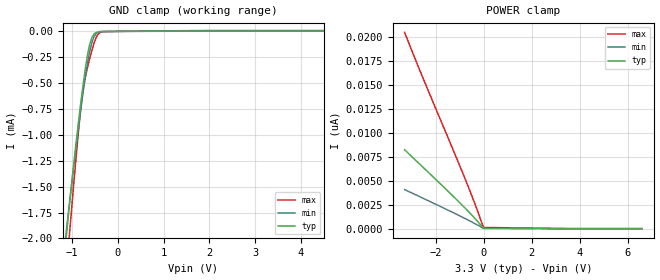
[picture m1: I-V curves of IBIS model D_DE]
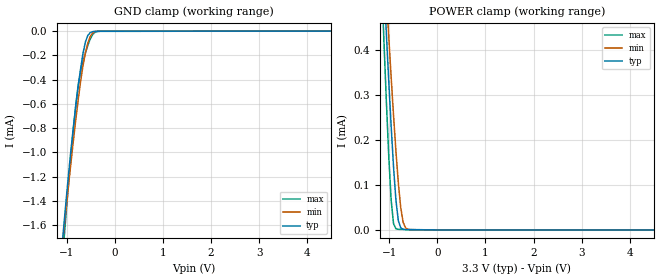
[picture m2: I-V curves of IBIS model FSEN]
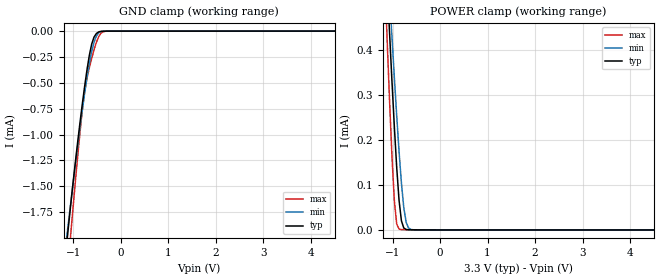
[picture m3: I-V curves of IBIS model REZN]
| Texas Instruments Incorporated
| SN65MLVD040 4-CHANNEL HALF-DUPLEX M-LVDS LINE TRANSCEIVERS
| Marketing part#   Voltage Range   Package-type   #pins/pkg drawing
| SN65MLVD040RGZR   3.0V - 5.5V   VQFN   48-pin QFN
| SN65MLVD040RGZT   3.0V - 5.5V   VQFN   48-pin QFN/Small
[IBIS Ver]   4.0
[File name]   sn65mlvd040.ibs
[File Rev]   1.0
[Date]   03/07/2011
[Source]   Model built from TISPICE simulations at:
   Texas Instruments Incorporated.
   Analog-eLab, HPA
   12500 TI Blvd
   Dallas, TX -75243
   For Support e-mail: elab_scm_ibis@list.ti.com
[Notes]   Revision History
   Rev 1.0: 03/07/2011
   - Model based on simulations from TIspice
   - ccomp values are based on PVT conditions although listed
   in numerical order, please review ccomp comments below under
   respective [Model]
   - Non-monotonicity in AB_IO pullup/down reflects behavior from
   simulations
[Disclaimer] This product is designed as an aid for customers of Texas
                Instruments.
                No warranties, either expressed or implied, with respect
                to this third party software (if any) or with respect to
                its fitness for any particular purpose is claimed by Texas
                Instruments or the author. The software (if any) is provided
                solely on an "as is" basis. The entire risk as to its quality
                and performance is with the customer
[Copyright]   (C)Copyright 2011 Texas Instruments Incorporated.
   All rights reserved.
|   Component sn65mlvd040rgz
[Component]   sn65mlvd040rgz
[Manufacturer]  Texas Instruments Incorporated
[Package]   |48-pin QFN package
|   typ   min   max
R_pkg   0.087760345   0.05095   0.10827
L_pkg   1.54536931nH   1.22682nH   1.79617nH
C_pkg   0.357733103pF   0.32567pF   0.40997pF
[Pin] signal_name   model_name   R_pin   L_pin   C_pin
1   1DE   D_DE   0.10418   1.74196nH   0.33796pF
2   VCC   POWER   0.05453   1.44952nH   0.3941pF
3   2A   A_B_IO   0.10244   1.65488nH   0.35398pF
4   2B   A_B_IO   0.10188   1.61488nH   0.34798pF
5   2DE   D_DE   0.09717   1.52285nH   0.33846pF
6   GND   GND   0.04999   1.20252nH   0.36152pF
7   GND   GND   0.04985   1.19873nH   0.36148pF
8   3DE   D_DE   0.0964   1.5116nH   0.33802pF
9   3A   A_B_IO   0.10255   1.62476nH   0.34877pF
10   3B   A_B_IO   0.10316   1.66538nH   0.35628pF
11   VCC   POWER   0.05504   1.46605nH   0.39594pF
12   4DE   D_DE   0.10413   1.74126nH   0.33732pF
13   4A   A_B_IO   0.10769   1.78773nH   0.34083pF
14   4B   A_B_IO   0.10651   1.7467nH   0.36905pF
15   VCC   POWER   0.05573   1.42696nH   0.40177pF
16   VCC   POWER   0.05343   1.32944nH   0.388pF
17   NC   NC   0.00393   0.36665nH   0.25841pF
18   GND   GND   0.04971   1.19158nH   0.35341pF
19   3REN   REZN   0.09506   1.46808nH   0.32567pF
20   3FSEN   FSEN   0.09536   1.48828nH   0.33742pF
21   4REN   REZN   0.09765   1.54419nH   0.349pF
22   4FSEN   FSEN   0.10289   1.65093nH   0.36611pF
23   GND   GND   0.05875   1.58201nH   0.41305pF
24   VCC   POWER   0.05766   1.52803nH   0.38176pF
25   4D   D_DE   0.0543   1.42486nH   0.37587pF
26   4R   ROUT   0.05587   1.48017nH   0.40997pF
27   GND   GND   0.05274   1.32633nH   0.40187pF
28   3D   D_DE   0.05162   1.27555nH   0.39022pF
29   3R   ROUT   0.05095   1.22682nH   0.37993pF
30   PDN   NC   0.09792   1.50475nH   0.33263pF
31   GND   GND   0.05157   1.22971nH   0.37034pF
32   2D   D_DE   0.05233   1.26741nH   0.38448pF
33   2R   ROUT   0.05366   1.32882nH   0.39163pF
34   GND   GND   0.05404   1.36471nH   0.39709pF
35   1D   D_DE   0.05535   1.46945nH   0.40627pF
36   1R   ROUT   0.05465   1.44237nH   0.37643pF
37   VCC   POWER   0.05681   1.503nH   0.38308pF
38   GND   GND   0.05623   1.50107nH   0.41106pF
39   1FSEN   FSEN   0.09941   1.60072nH   0.36104pF
40   1REN   REZN   0.09589   1.51932nH   0.3453pF
41   2FSEN   FSEN   0.09511   1.48505nH   0.33655pF
42   2REN   REZN   0.0956   1.47617nH   0.32567pF
43   GND   GND   0.09692   1.49583nH   0.32549pF
44   NC   NC   0.09958   1.55179nH   0.34125pF
45   VCC   POWER   0.0531   1.32799nH   0.39111pF
46   VCC   POWER   0.05551   1.42116nH   0.40264pF
47   1A   A_B_IO   0.10705   1.7546nH   0.37001pF
48   1B   A_B_IO   0.10827   1.79617nH   0.34141pF
[Diff_pin]   inv_pin   vdiff   tdelay_typ   tdelay_min   tdelay_max
| The A and B are Diff_pins
3   4   50mV   NA   NA   NA
9   10   50mV   NA   NA   NA
13   14   50mV   NA   NA   NA
47   48   50mV   NA   NA   NA
[Model Selector] A_B_IO
A_B_IO_type1  type1 FSEN=GND
A_B_IO_type2  type2 FSEN=VCC
| Models and submodels in the file (6): D_DE (Input), FSEN (Input), REZN (Input), ROUT (3-state), A_B_IO_type1 (I/O), A_B_IO_type2 (I/O)
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|   D DE Model
[Model]   D_DE
Model_type   Input
Vinl   = 0.80V
Vinh   = 2.00V
|   typ   min   max
|   (nom PVT)   (Fast PVT)   (Slow PVT)
C_comp   3.2931008pF   2.9623287pF   3.5287606pF
[Voltage Range]   3.3   3.0   3.6
|Junction temperature
[Temperature Range]   37   97   -40
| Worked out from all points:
|   GND clamp passes 1 mA (typ) near -0.89 V on its own axis
|ambient temperature   25   85   -40
[GND Clamp]
|   Voltage   I(typ)   I(min)   I(max)
-3.3V     -14.35mA   -11.9mA    -18.12mA
-1.161V   -2.155mA   -2.079mA   -2.544mA
-1.111V   -1.928mA   -1.882mA   -2.271mA
-1.061V   -1.707mA   -1.688mA   -2.001mA
-1.012V   -1.493mA   -1.497mA   -1.738mA
-812.6mV  -712.6uA   -771.5uA   -771.2uA
-713.1mV  -378uA     -451.6uA   -455.8uA
-613.6mV  -126.8uA   -196.7uA   -265uA
-563.8mV  -58.67uA   -108uA     -181.8uA
-464.3mV  -8.595uA   -16.46uA   -53.6uA
-215.6mV  -705.4nA   -406.8nA   -1.508uA
6.6V      3.441uA    1.684uA    8.245uA
[POWER Clamp]
|   Voltage   I(typ)   I(min)   I(max)
-3.3V     8.224nA    4.073nA    20.45nA
-2.504V   6.33nA     3.137nA    15.52nA
-812.6mV  2.227nA    1.101nA    5.407nA
-464.3mV  1.325nA    655pA      3.216nA
-66.33mV  205.7pA    102pA      497.3pA
0V        49.55pA    25.47pA    125.7pA
6.6V      0A         0A         0A
|   FSEN Model
[Model]   FSEN
Model_type   Input
Vinl   = 0.80V
Vinh   = 2.00V
|   typ   min   max
|   (nom PVT)   (Fast PVT)   (Slow PVT)
C_comp   3.3085444pF   2.9897475pF   3.5451622pF
[Voltage Range]   3.3   3.0   3.6
|Junction temperature
[Temperature Range]   37   97   -40
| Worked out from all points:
|   GND clamp passes 1 mA (typ) near -0.92 V on its own axis
|   POWER clamp passes 1 mA (typ) near -1.31 V on its own axis
|ambient temperature   25   85   -40
[GND Clamp]
|   Voltage   I(typ)   I(min)   I(max)
-3.3V     -14.29mA   -11.85mA   -18.05mA
-1.111V   -1.828mA   -1.833mA   -1.98mA
-1.061V   -1.601mA   -1.639mA   -1.731mA
-1.012V   -1.381mA   -1.448mA   -1.488mA
-912.1mV  -972.3uA   -1.077mA   -1.023mA
-812.6mV  -614.2uA   -726.8uA   -605.3uA
-762.8mV  -454.6uA   -564.2uA   -441.4uA
-663.3mV  -184uA     -284.4uA   -252.2uA
-613.6mV  -89.85uA   -178.8uA   -182uA
-464.3mV  -4.577uA   -15.36uA   -29.76uA
-265.3mV  -1.132uA   -683.8nA   -2.082uA
6.6V      0A         0A         0A
[POWER Clamp]
|   Voltage   I(typ)   I(min)   I(max)
-3.3V     5.863mA    5.098mA    7.125mA
-1.161V   658.2uA    711.2uA    556.5uA
-1.111V   546.3uA    615.8uA    418.1uA
-1.061V   436.8uA    521.9uA    285.8uA
-1.012V   331uA      429.8uA    164.5uA
-961.8mV  230.8uA    340.5uA    66.31uA
-912.1mV  139.9uA    254.9uA    14.01uA
-862.3mV  66.11uA    175.1uA    2.737uA
-762.8mV  4.782uA    49.96uA    1.323uA
-713.1mV  1.427uA    17.37uA    1.227uA
-613.6mV  683.4nA    1.397uA    1.051uA
6.6V      0A         0A         0A
|   REZN Model
[Model]   REZN
Model_type   Input
Vinl   = 0.80V
Vinh   = 2.00V
|   typ   min   max
|   (nom PVT)   (Fast PVT)   (Slow PVT)
C_comp   3.2932859pF   2.9623446pF   3.5288326pF
[Voltage Range]   3.3   3.0   3.6
|Junction temperature
[Temperature Range]   37   97   -40
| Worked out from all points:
|   GND clamp passes 1 mA (typ) near -0.89 V on its own axis
|   POWER clamp passes 1 mA (typ) near -1.31 V on its own axis
|ambient temperature   25   85   -40
[GND Clamp]
|   Voltage   I(typ)   I(min)   I(max)
-3.3V     -14.35mA   -11.89mA   -18.12mA
-1.161V   -2.154mA   -2.078mA   -2.543mA
-1.111V   -1.927mA   -1.881mA   -2.269mA
-1.061V   -1.706mA   -1.687mA   -2mA
-1.012V   -1.493mA   -1.496mA   -1.736mA
-812.6mV  -711.9uA   -770.8uA   -770uA
-713.1mV  -377.2uA   -450.9uA   -454.6uA
-613.6mV  -126uA     -196uA     -263.8uA
-563.8mV  -57.74uA   -107.3uA   -180.4uA
-464.3mV  -7.66uA    -15.89uA   -52.02uA
-265.3mV  -576.9nA   -362.9nA   -1.112uA
6.6V      0A         0A         0A
[POWER Clamp]
|   Voltage   I(typ)   I(min)   I(max)
-3.3V     5.863mA    5.098mA    7.125mA
-1.161V   658.2uA    711.2uA    556.4uA
-1.111V   546.2uA    615.8uA    418uA
-1.061V   436.8uA    521.8uA    285.6uA
-1.012V   330.9uA    429.8uA    164.2uA
-961.8mV  230.7uA    340.4uA    65.91uA
-912.1mV  139.8uA    254.8uA    13.35uA
-862.3mV  65.88uA    175uA      2.008uA
-762.8mV  4.385uA    49.8uA     666nA
-713.1mV  1.039uA    17.16uA    613.9nA
-613.6mV  349.4nA    1.173uA    525.4nA
6.6V      0A         0A         0A
